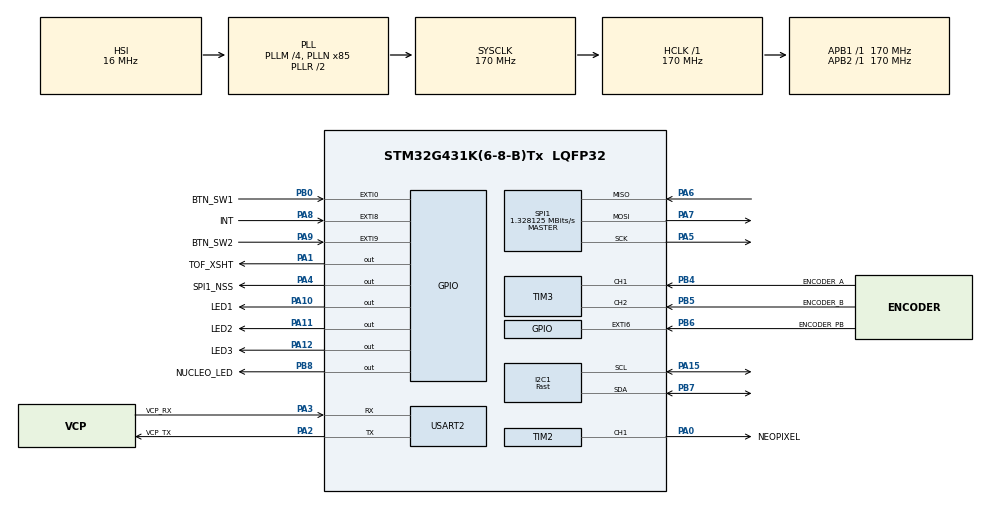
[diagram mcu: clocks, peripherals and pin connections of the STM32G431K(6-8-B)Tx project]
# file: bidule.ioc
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Dma.Request0=TIM2_CH1
Dma.TIM2_CH1.0.Direction=DMA_MEMORY_TO_PERIPH
Dma.TIM2_CH1.0.EventEnable=DISABLE
Dma.TIM2_CH1.0.Instance=DMA1_Channel1
Dma.TIM2_CH1.0.MemDataAlignment=DMA_MDATAALIGN_BYTE
Dma.TIM2_CH1.0.MemInc=DMA_MINC_ENABLE
Dma.TIM2_CH1.0.Mode=DMA_CIRCULAR
Dma.TIM2_CH1.0.PeriphDataAlignment=DMA_PDATAALIGN_WORD
Dma.TIM2_CH1.0.PeriphInc=DMA_PINC_DISABLE
Dma.TIM2_CH1.0.Polarity=HAL_DMAMUX_REQ_GEN_RISING
Dma.TIM2_CH1.0.Priority=DMA_PRIORITY_LOW
Dma.TIM2_CH1.0.RequestNumber=1
Dma.TIM2_CH1.0.SignalID=NONE
Dma.TIM2_CH1.0.SyncEnable=DISABLE
Dma.TIM2_CH1.0.SyncPolarity=HAL_DMAMUX_SYNC_NO_EVENT
Dma.TIM2_CH1.0.SyncRequestNumber=1
Dma.TIM2_CH1.0.SyncSignalID=NONE
I2C1.I2C_Speed_Mode=I2C_Fast
I2C1.Timing=0x40621236
Mcu.Family=STM32G4
Mcu.Name=STM32G431K(6-8-B)Tx
Mcu.Package=LQFP32
NVIC.DMA1_Channel1_IRQn=true\:0\:0\:false\:false\:true\:false\:true\:true
NVIC.EXTI0_IRQn=true\:0\:0\:false\:false\:true\:true\:true\:true
NVIC.EXTI9_5_IRQn=true\:0\:0\:false\:false\:true\:true\:true\:true
NVIC.I2C1_ER_IRQn=true\:0\:0\:false\:false\:true\:true\:true\:true
NVIC.I2C1_EV_IRQn=true\:0\:0\:false\:false\:true\:true\:true\:true
NVIC.PriorityGroup=NVIC_PRIORITYGROUP_4
NVIC.TIM2_IRQn=true\:0\:0\:false\:false\:true\:true\:true\:true
PA0.GPIO_Label=NEOPIXEL
PA0.Signal=S_TIM2_CH1
PA1.GPIO_Label=TOF_XSHT
PA1.Signal=GPIO_Output
PA10.GPIO_Label=LED1
PA10.Signal=GPIO_Output
PA11.GPIO_Label=LED2
PA11.Signal=GPIO_Output
PA12.GPIO_Label=LED3
PA12.Signal=GPIO_Output
PA13.GPIO_Label=T_SWDIO
PA13.Mode=Trace_Asynchronous_SW
PA13.Signal=SYS_JTMS-SWDIO
PA14.GPIO_Label=T_SWCLK
PA14.Mode=Trace_Asynchronous_SW
PA14.Signal=SYS_JTCK-SWCLK
PA15.GPIO_Pu=GPIO_PULLUP
PA15.Mode=I2C
PA15.Signal=I2C1_SCL
PA2.GPIO_Label=VCP_TX
PA2.Mode=Asynchronous
PA2.Signal=USART2_TX
PA3.GPIO_Label=VCP_RX
PA3.Mode=Asynchronous
PA3.Signal=USART2_RX
PA4.GPIO_Label=SPI1_NSS
PA4.PinState=GPIO_PIN_SET
PA4.Signal=GPIO_Output
PA5.GPIO_Speed=GPIO_SPEED_FREQ_LOW
PA5.Mode=Full_Duplex_Master
PA5.Signal=SPI1_SCK
PA6.GPIO_Speed=GPIO_SPEED_FREQ_LOW
PA6.Mode=Full_Duplex_Master
PA6.Signal=SPI1_MISO
PA7.GPIO_Speed=GPIO_SPEED_FREQ_LOW
PA7.Mode=Full_Duplex_Master
PA7.Signal=SPI1_MOSI
PA8.GPIO_Label=INT
PA8.Signal=GPXTI8
PA9.GPIO_Label=BTN_SW2
PA9.GPIO_ModeDefaultEXTI=GPIO_MODE_IT_FALLING
PA9.GPIO_PuPd=GPIO_PULLUP
PA9.Signal=GPXTI9
PB0.GPIO_Label=BTN_SW1
PB0.GPIO_ModeDefaultEXTI=GPIO_MODE_IT_FALLING
PB0.GPIO_PuPd=GPIO_PULLUP
PB0.Signal=GPXTI0
PB3.GPIO_Label=T_SWO
PB3.Mode=Trace_Asynchronous_SW
PB3.Signal=SYS_JTDO-SWO
PB4.GPIO_Label=ENCODER_A
PB4.GPIO_PuPd=GPIO_PULLUP
PB4.Signal=S_TIM3_CH1
PB5.GPIO_Label=ENCODER_B
PB5.GPIO_PuPd=GPIO_PULLUP
PB5.Signal=S_TIM3_CH2
PB6.GPIO_Label=ENCODER_PB
PB6.GPIO_PuPd=GPIO_PULLUP
PB6.Signal=GPXTI6
PB7.GPIO_Pu=GPIO_PULLUP
PB7.Mode=I2C
PB7.Signal=I2C1_SDA
PB8-BOOT0.GPIO_Label=NUCLEO_LED
PB8-BOOT0.Signal=GPIO_Output
ProjectManager.HeapSize=0x200
ProjectManager.StackSize=0x400
ProjectManager.TargetToolchain=CMake
RCC.ADC12Freq_Value=170000000
RCC.AHBFreq_Value=170000000
RCC.APB1Freq_Value=170000000
RCC.APB1TimFreq_Value=170000000
RCC.APB2Freq_Value=170000000
RCC.APB2TimFreq_Value=170000000
RCC.CortexFreq_Value=170000000
RCC.EXTERNAL_CLOCK_VALUE=12288000
RCC.HCLKFreq_Value=170000000
RCC.HSE_VALUE=8000000
RCC.HSI48_VALUE=48000000
RCC.HSI_VALUE=16000000
RCC.LSE_VALUE=32768
RCC.PLLM=RCC_PLLM_DIV4
RCC.PLLN=85
RCC.SYSCLKFreq_VALUE=170000000
RCC.SYSCLKSource=RCC_SYSCLKSOURCE_PLLCLK
RCC.USBFreq_Value=170000000
RCC.VCOOutputFreq_Value=340000000
SH.S_TIM2_CH1.0=TIM2_CH1,PWM Generation1 CH1
SH.S_TIM3_CH1.0=TIM3_CH1,Encoder_Interface
SH.S_TIM3_CH2.0=TIM3_CH2,Encoder_Interface
SPI1.BaudRatePrescaler=SPI_BAUDRATEPRESCALER_128
SPI1.CLKPhase=SPI_PHASE_2EDGE
SPI1.CLKPolarity=SPI_POLARITY_HIGH
SPI1.CalculateBaudRate=1.328125 MBits/s
SPI1.DataSize=SPI_DATASIZE_8BIT
SPI1.Direction=SPI_DIRECTION_2LINES
SPI1.Mode=SPI_MODE_MASTER
SPI1.VirtualType=VM_MASTER
TIM2.Channel-PWM\ Generation1\ CH1=TIM_CHANNEL_1
TIM2.PeriodNoDither=212
USART2.VirtualMode-Asynchronous=VM_ASYNC
VP_SYS_VS_DBSignals.Mode=DisableDeadBatterySignals
board=NUCLEO-G431KB

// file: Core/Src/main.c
/* USER CODE BEGIN Header */
/**
 ******************************************************************************
 * @file           : main.c
 * @brief          : Main program body
 ******************************************************************************
 * @attention
 *
 * Copyright (c) 2026 STMicroelectronics.
 * All rights reserved.
 *
 * This software is licensed under terms that can be found in the LICENSE file
 * in the root directory of this software component.
 * If no LICENSE file comes with this software, it is provided AS-IS.
 *
 ******************************************************************************
 */
/* USER CODE END Header */
#include "main.h"
#include "dma.h"
#include "i2c.h"
#include "spi.h"
#include "tim.h"
#include "usart.h"
#include "gpio.h"

/* USER CODE BEGIN Includes */
#include <stdint.h>
#include <stdio.h>
#include <stdbool.h>
/* USER CODE END Includes */

/* USER CODE BEGIN PD */
#define LED_BLINK_PERIOD 250

#define CCR_T0H 68
#define CCR_T1H 136

#define LED_NUMBER 1
#define COLOR_NUMBER 3
#define BITS_PER_COLOR 8
#define NP_BUFFER_LENGTH (LED_NUMBER * COLOR_NUMBER * BITS_PER_COLOR +1)

#define S 250
#define V 50
/* USER CODE END PD */

/* USER CODE BEGIN PV */
int __io_putchar(int ch) {
	// Write a single character via HAL UART
	HAL_UART_Transmit(&huart2, (uint8_t *)&ch, 1, HAL_MAX_DELAY);
	return ch;
}
static volatile bool sw1_pressed = false;
static volatile bool sw2_pressed = false;
/* USER CODE END PV */

void SystemClock_Config(void);

/* USER CODE BEGIN 0 */
static void hsv_to_rgb(int h, int s, int v, uint8_t *r, uint8_t *g, uint8_t *b) {
	h = ((h % 360) + 360) % 360;
	if (s <= 0) {
		*r = *g = *b = (uint8_t)v;
		return;
	}
	int region = h / 60;
	int rem = h % 60;
	int p = (v * (255 - s)) / 255;
	int q = (v * (255 - (s * rem) / 60)) / 255;
	int t = (v * (255 - (s * (60 - rem)) / 60)) / 255;
	switch (region) {
	case 0: *r = (uint8_t)v; *g = (uint8_t)t; *b = (uint8_t)p; break;
	case 1: *r = (uint8_t)q; *g = (uint8_t)v; *b = (uint8_t)p; break;
	case 2: *r = (uint8_t)p; *g = (uint8_t)v; *b = (uint8_t)t; break;
	case 3: *r = (uint8_t)p; *g = (uint8_t)q; *b = (uint8_t)v; break;
	case 4: *r = (uint8_t)t; *g = (uint8_t)p; *b = (uint8_t)v; break;
	default: *r = (uint8_t)v; *g = (uint8_t)p; *b = (uint8_t)q; break;
	}
}

typedef struct color_struct{
	uint8_t r;
	uint8_t g;
	uint8_t b;
}color_t;
uint8_t np_dma_buffer[NP_BUFFER_LENGTH];
/* USER CODE END 0 */

int main(void)
{

	/* MCU Configuration --------------------------------------------------------*/
	HAL_Init();
	SystemClock_Config();

	MX_GPIO_Init();
	MX_DMA_Init();
	MX_I2C1_Init();
	MX_TIM3_Init();
	MX_TIM2_Init();
	MX_USART2_UART_Init();
	MX_SPI1_Init();

	/* USER CODE BEGIN 2 */
	HAL_TIM_Encoder_Start(&htim3, TIM_CHANNEL_1);
	HAL_TIM_PWM_Start_DMA(&htim2, TIM_CHANNEL_1, (uint32_t *)np_dma_buffer, NP_BUFFER_LENGTH);
	void color_to_buffer(color_t * color, uint8_t * buffer){
		for (int i=0;i < NP_BUFFER_LENGTH;i++){
			buffer[i] = ((color->g >> (7-i) & 0x01)) ? CCR_T1H : CCR_T0H;
		}
		for (int i=0;i < NP_BUFFER_LENGTH;i++){
			buffer[BITS_PER_COLOR+i] = ((color->r >> (7-i) & 0x01)) ? CCR_T1H : CCR_T0H;
		}
		for (int i=0;i < NP_BUFFER_LENGTH;i++){
			buffer[2*BITS_PER_COLOR+i] = ((color->b >> (7-i) & 0x01)) ? CCR_T1H : CCR_T0H;
		}
		/* Dernier bit force à 0 pour 0V sura Neopixel */
		buffer[NP_BUFFER_LENGTH - 1] = 0;
	}
	uint32_t last_tick = 0;
	color_t color;
	/* USER CODE END 2 */

	/* Infinite loop */
	/* USER CODE BEGIN WHILE */
	while (1)
	{
		uint32_t position = __HAL_TIM_GET_COUNTER(&htim3);
		printf("encoder position %lu \n\r", position);
		static uint32_t previous_position = 0;
		static uint8_t hue = 0;
		if (previous_position!=position){
			hsv_to_rgb(hue++, S, V, &color.r, &color.g, &color.b);
			color_to_buffer(&color, np_dma_buffer);
		}
		previous_position = position;

//		uint32_t tick = HAL_GetTick();
//		if (last_tick != tick) {
//			last_tick = tick;
//			if (0 == (tick % LED_BLINK_PERIOD)) {
//				HAL_GPIO_TogglePin(LED1_GPIO_Port, LED1_Pin);
//			}
//		}
//
//		if (sw1_pressed) {
//			sw1_pressed = false;
//			HAL_GPIO_TogglePin(LED2_GPIO_Port, LED2_Pin);
//		}
//
//		if (sw2_pressed) {
//			sw2_pressed = false;
//			HAL_GPIO_TogglePin(LED3_GPIO_Port, LED3_Pin);
//		}
		/* USER CODE END WHILE */

	}
}
void SystemClock_Config(void)
{
	RCC_OscInitTypeDef RCC_OscInitStruct = {0};
	RCC_ClkInitTypeDef RCC_ClkInitStruct = {0};

	/** Configure the main internal regulator output voltage
	 */
	HAL_PWREx_ControlVoltageScaling(PWR_REGULATOR_VOLTAGE_SCALE1_BOOST);

	/** Initializes the RCC Oscillators according to the specified parameters
	 * in the RCC_OscInitTypeDef structure.
	 */
	RCC_OscInitStruct.OscillatorType = RCC_OSCILLATORTYPE_HSI;
	RCC_OscInitStruct.HSIState = RCC_HSI_ON;
	RCC_OscInitStruct.HSICalibrationValue = RCC_HSICALIBRATION_DEFAULT;
	RCC_OscInitStruct.PLL.PLLState = RCC_PLL_ON;
	RCC_OscInitStruct.PLL.PLLSource = RCC_PLLSOURCE_HSI;
	RCC_OscInitStruct.PLL.PLLM = RCC_PLLM_DIV4;
	RCC_OscInitStruct.PLL.PLLN = 85;
	RCC_OscInitStruct.PLL.PLLP = RCC_PLLP_DIV2;
	RCC_OscInitStruct.PLL.PLLQ = RCC_PLLQ_DIV2;
	RCC_OscInitStruct.PLL.PLLR = RCC_PLLR_DIV2;
	if (HAL_RCC_OscConfig(&RCC_OscInitStruct) != HAL_OK)
	{
		Error_Handler();
	}

	/** Initializes the CPU, AHB and APB buses clocks
	 */
	RCC_ClkInitStruct.ClockType = RCC_CLOCKTYPE_HCLK|RCC_CLOCKTYPE_SYSCLK
			|RCC_CLOCKTYPE_PCLK1|RCC_CLOCKTYPE_PCLK2;
	RCC_ClkInitStruct.SYSCLKSource = RCC_SYSCLKSOURCE_PLLCLK;
	RCC_ClkInitStruct.AHBCLKDivider = RCC_SYSCLK_DIV1;
	RCC_ClkInitStruct.APB1CLKDivider = RCC_HCLK_DIV1;
	RCC_ClkInitStruct.APB2CLKDivider = RCC_HCLK_DIV1;

	if (HAL_RCC_ClockConfig(&RCC_ClkInitStruct, FLASH_LATENCY_4) != HAL_OK)
	{
		Error_Handler();
	}
}

/* USER CODE BEGIN 4 */
void HAL_GPIO_EXTI_Callback(uint16_t GPIO_Pin)
{
	if (GPIO_Pin == BTN_SW1_Pin) {
		sw1_pressed = true;
	} else if (GPIO_Pin == BTN_SW2_Pin) {
		sw2_pressed = true;
	}
}
/* USER CODE END 4 */

void Error_Handler(void)
{
	__disable_irq();
	while (1)
	{
	}
}
